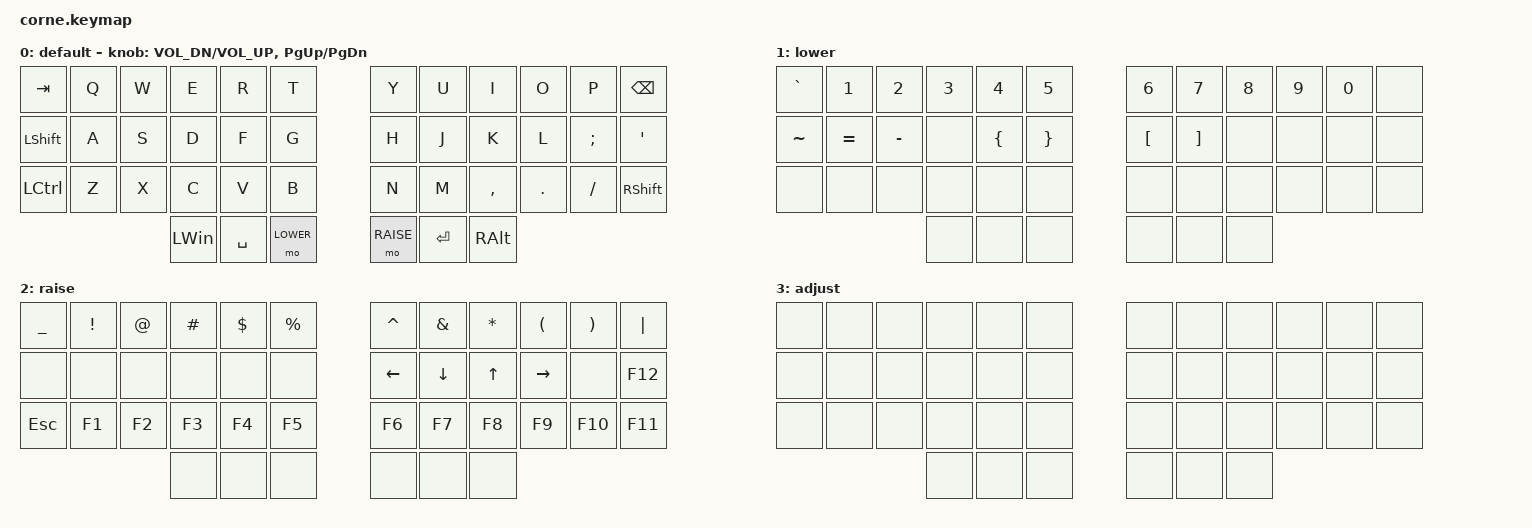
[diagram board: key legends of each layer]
/* Corne 3x6 keymap for Neovim, which-key/Hints and tmux. */

#include <behaviors.dtsi>
#include <dt-bindings/zmk/keys.h>

#define BASE 0
#define LOWER 1
#define RAISE 2
#define ADJUST 3

/ {
    conditional_layers {
        compatible = "zmk,conditional-layers";

        adjust_layer {
            if-layers = <LOWER RAISE>;
            then-layer = <ADJUST>;
        };
    };

    macros {
        tmux_leader: tmux_leader {
            compatible = "zmk,behavior-macro";
            #binding-cells = <0>;
            bindings = <&kp LC(SPACE)>;
        };

        tmux_group_split: tmux_group_split {
            compatible = "zmk,behavior-macro";
            #binding-cells = <0>;
            bindings = <&kp LC(SPACE) &kp S>;
        };

        tmux_group_windows: tmux_group_windows {
            compatible = "zmk,behavior-macro";
            #binding-cells = <0>;
            bindings = <&kp LC(SPACE) &kp W>;
        };

        tmux_group_panes: tmux_group_panes {
            compatible = "zmk,behavior-macro";
            #binding-cells = <0>;
            bindings = <&kp LC(SPACE) &kp P>;
        };

        tmux_group_sessions: tmux_group_sessions {
            compatible = "zmk,behavior-macro";
            #binding-cells = <0>;
            bindings = <&kp LC(SPACE) &kp T>;
        };

        nvim_group_action: nvim_group_action {
            compatible = "zmk,behavior-macro";
            #binding-cells = <0>;
            bindings = <&kp SPACE &kp A>;
        };

        nvim_group_split: nvim_group_split {
            compatible = "zmk,behavior-macro";
            #binding-cells = <0>;
            bindings = <&kp SPACE &kp S>;
        };

        nvim_group_find: nvim_group_find {
            compatible = "zmk,behavior-macro";
            #binding-cells = <0>;
            bindings = <&kp SPACE &kp F>;
        };

        nvim_group_git: nvim_group_git {
            compatible = "zmk,behavior-macro";
            #binding-cells = <0>;
            bindings = <&kp SPACE &kp G>;
        };

        nvim_group_term: nvim_group_term {
            compatible = "zmk,behavior-macro";
            #binding-cells = <0>;
            bindings = <&kp SPACE &kp T>;
        };

        nvim_toggle_tree: nvim_toggle_tree {
            compatible = "zmk,behavior-macro";
            #binding-cells = <0>;
            bindings = <&kp SPACE &kp E>;
        };

        hunt_and_pick: hunt_and_pick {
            compatible = "zmk,behavior-macro";
            #binding-cells = <0>;
            bindings = <&kp LS(SPACE)>;
        };

        nvim_save: nvim_save {
            compatible = "zmk,behavior-macro";
            #binding-cells = <0>;
            bindings = <&kp LC(S)>;
        };
    };

    keymap {
        compatible = "zmk,keymap";

        default_layer {
            display-name = "default";
            bindings = <
&kp TAB         &kp Q  &kp W  &kp E         &kp R      &kp T        &kp Y      &kp U      &kp I          &kp O    &kp P     &kp BACKSPACE
&kp LEFT_SHIFT  &kp A  &kp S  &kp D         &kp F      &kp G        &kp H      &kp J      &kp K          &kp L    &kp SEMI  &kp SQT
&kp LCTRL       &kp Z  &kp X  &kp C         &kp V      &kp B        &kp N      &kp M      &kp COMMA      &kp DOT  &kp FSLH  &kp RIGHT_SHIFT
                              &kp LEFT_WIN  &kp SPACE  &mo LOWER    &mo RAISE  &kp ENTER  &kp RIGHT_ALT
            >;

            sensor-bindings =
                <&inc_dec_kp C_VOL_DN C_VOL_UP>,
                <&inc_dec_kp PG_UP PG_DN>;
        };

        lower_layer {
            display-name = "lower";
            bindings = <
&kp GRAVE       &kp NUMBER_1     &kp NUMBER_2  &kp NUMBER_3  &kp NUMBER_4    &kp N5             &kp NUMBER_6      &kp N7             &kp N8        &kp N9                &kp N0                 &none
&kp TILDE       &kp EQUAL        &kp MINUS     &none         &kp LEFT_BRACE  &kp RIGHT_BRACE    &kp LEFT_BRACKET  &kp RIGHT_BRACKET  &none         &none                 &none                  &none
&none           &none            &none         &none         &none           &none              &none             &none               &none         &none                  &none                   &none
                                               &none         &none           &none              &none             &none              &none
            >;
        };

        raise_layer {
            display-name = "raise";
            bindings = <
&kp UNDERSCORE  &kp EXCLAMATION  &kp AT_SIGN  &kp HASH  &kp DOLLAR  &kp PERCENT    &kp CARET  &kp AMPERSAND  &kp ASTERISK  &kp LEFT_PARENTHESIS  &kp RIGHT_PARENTHESIS  &kp PIPE
&none    &none   &none   &none   &none   &none     &kp LEFT_ARROW  &kp DOWN_ARROW  &kp UP_ARROW  &kp RIGHT_ARROW  &none    &kp F12
&kp ESC  &kp F1  &kp F2  &kp F3  &kp F4  &kp F5    &kp F6          &kp F7          &kp F8        &kp F9           &kp F10  &kp F11
                         &none   &none   &none     &none           &none           &none
            >;
        };

        adjust_layer {
            display-name = "adjust";
            bindings = <
&none  &none  &none  &none  &none  &none    &none  &none  &none  &none  &none  &none
&none  &none  &none  &none  &none  &none    &none  &none  &none  &none  &none  &none
&none  &none  &none  &none  &none  &none    &none  &none  &none  &none  &none  &none
                     &none  &none  &none    &none  &none  &none
            >;
        };
    };
};
